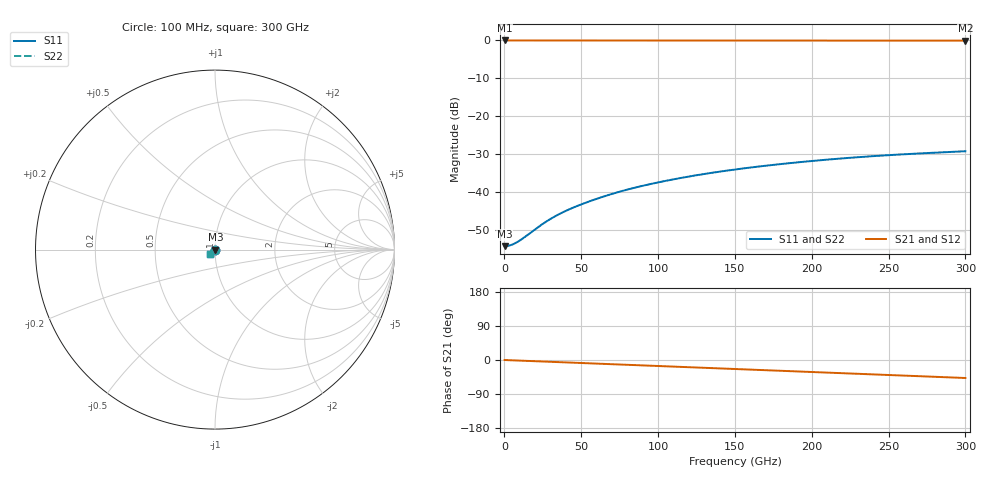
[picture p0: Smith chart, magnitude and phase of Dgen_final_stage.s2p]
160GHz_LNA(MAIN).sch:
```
<Qucs Schematic 24.4.1>
<Properties>
  <View=-109,-1090,3583,980,0.440903,41,21>
  <Grid=10,10,1>
  <DataSet=160GHz_LNA(MAIN).dat>
  <DataDisplay=160GHz_LNA(MAIN).dpl>
  <OpenDisplay=0>
  <Script=Bandwidth extension.m>
  <RunScript=0>
  <showFrame=0>
  <FrameText0=Title>
  <FrameText1=Drawn By:>
  <FrameText2=Date:>
  <FrameText3=Revision:>
</Properties>
<Symbol>
</Symbol>
<Components>
  <GND * 1 2260 180 0 0 0 0>
  <GND * 1 2290 -300 0 0 0 0>
  <GND * 1 2290 140 0 0 0 0>
  <Lib npn13G8 1 2260 -80 10 64 0 0 "C:/Users/nsl/QucsWorkspace/user_lib/IHP_PDK_nonlinear_components" 0 "npn13G2" 0 "2" 1>
  <Lib rsil8 1 2260 -230 50 -26 0 0 "C:/Users/nsl/QucsWorkspace/user_lib/IHP_PDK_basic_components" 0 "rsil" 0 "7.5u" 1 "5.5u" 1 "1" 1>
  <GND * 1 2360 -290 0 0 0 0>
  <Vdc V7 1 2360 -350 18 -26 0 1 "1.35V" 1>
  <SPfile X4 1 2260 -330 -165 -26 0 1 "C:/S2P files/Choke.s2p" 1 "rectangular" 0 "linear" 0 "open" 0 "2" 0>
  <SPfile X12 1 2260 130 -219 -26 0 1 "C:/S2P files/Dgen_final_stage.s2p" 1 "rectangular" 0 "linear" 0 "open" 0 "2" 0>
  <GND * 1 2050 -260 0 0 0 0>
  <Vdc V8 1 2050 -290 18 -26 0 1 "0.93V" 1>
  <Lib rhigh12 1 2180 -190 -79 -26 0 2 "C:/Users/nsl/QucsWorkspace/user_lib/IHP_PDK_basic_components" 0 "rhigh" 0 "2u" 1 "6u" 1 "1" 1>
  <GND * 1 2100 -30 0 0 0 0>
  <Lib cap_rfcmim15 1 2030 -90 -16 -98 0 1 "C:/Users/nsl/QucsWorkspace/user_lib/IHP_PDK_basic_components" 0 "cap_rfcmim" 0 "5.1u" 1 "2.4u" 1>
  <GND * 1 2430 -100 0 0 0 0>
  <Lib cap_rfcmim16 1 2390 -150 -16 -98 0 1 "C:/Users/nsl/QucsWorkspace/user_lib/IHP_PDK_basic_components" 0 "cap_rfcmim" 0 "32u" 1 "6.2u" 1>
  <GND * 1 2440 60 0 0 0 0>
  <SPfile X18 1 2470 20 22 -26 0 3 "C:/S2P files/4th_TL.s2p" 1 "rectangular" 0 "linear" 0 "open" 0 "2" 0>
  <GND * 1 2470 110 0 0 0 0>
  <GND * 1 2560 -100 0 0 0 0>
  <Lib cap_rfcmim17 1 2510 -150 -16 -98 0 1 "C:/Users/nsl/QucsWorkspace/user_lib/IHP_PDK_basic_components" 0 "cap_rfcmim" 0 "3.2u" 1 "2.4u" 1>
  <GND * 1 2660 100 0 0 0 0>
  <Pac P2 1 2660 30 18 -26 0 1 "2" 1 "50 Ohm" 1 "0 dBm" 0 "1 MHz" 0 "26.85" 0 "true" 0>
  <GND * 1 1790 240 0 0 0 0>
  <GND * 1 1820 -220 0 0 0 0>
  <GND * 1 1820 200 0 0 0 0>
  <Lib npn13G7 1 1790 -20 10 64 0 0 "C:/Users/nsl/QucsWorkspace/user_lib/IHP_PDK_nonlinear_components" 0 "npn13G2" 0 "2" 1>
  <Lib rsil7 1 1790 -150 50 -26 0 0 "C:/Users/nsl/QucsWorkspace/user_lib/IHP_PDK_basic_components" 0 "rsil" 0 "7.5u" 1 "5u" 1 "1" 1>
  <GND * 1 1890 -240 0 0 0 0>
  <Vdc V5 1 1890 -300 18 -26 0 1 "1.35V" 1>
  <SPfile X3 1 1790 -250 -165 -26 0 1 "C:/S2P files/Choke.s2p" 1 "rectangular" 0 "linear" 0 "open" 0 "2" 0>
  <SPfile X11 1 1790 190 -158 -26 0 1 "C:/S2P files/Dgen.s2p" 1 "rectangular" 0 "linear" 0 "open" 0 "2" 0>
  <GND * 1 1610 -150 0 0 0 0>
  <Vdc V6 1 1610 -180 18 -26 0 1 "0.9V" 1>
  <Lib rhigh11 1 1720 -90 -88 -26 0 2 "C:/Users/nsl/QucsWorkspace/user_lib/IHP_PDK_basic_components" 0 "rhigh" 0 "1.9u" 1 "6u" 1 "1" 1>
  <GND * 1 1620 30 0 0 0 0>
  <Lib cap_rfcmim13 1 1550 -30 -16 -98 0 1 "C:/Users/nsl/QucsWorkspace/user_lib/IHP_PDK_basic_components" 0 "cap_rfcmim" 0 "7.6u" 1 "2.5u" 1>
  <GND * 1 1950 -40 0 0 0 0>
  <Lib cap_rfcmim14 1 1910 -90 -16 -98 0 1 "C:/Users/nsl/QucsWorkspace/user_lib/IHP_PDK_basic_components" 0 "cap_rfcmim" 0 "32u" 1 "12.5u" 1>
  <GND * 1 1990 130 0 0 0 0>
  <SPfile X17 1 1990 60 22 -26 0 3 "C:/S2P files/3rd_TL.s2p" 1 "rectangular" 0 "linear" 0 "open" 0 "2" 0>
  <GND * 1 1960 90 0 0 0 0>
  <GND * 1 1270 300 0 0 0 0>
  <GND * 1 1300 -190 0 0 0 0>
  <GND * 1 1300 260 0 0 0 0>
  <Lib npn13G6 1 1270 40 10 64 0 0 "C:/Users/nsl/QucsWorkspace/user_lib/IHP_PDK_nonlinear_components" 0 "npn13G2" 0 "4" 1>
  <Lib rsil6 1 1270 -120 50 -26 0 0 "C:/Users/nsl/QucsWorkspace/user_lib/IHP_PDK_basic_components" 0 "rsil" 0 "7.5u" 1 "5u" 1 "1" 1>
  <GND * 1 1350 -170 0 0 0 0>
  <Vdc V3 1 1350 -230 18 -26 0 1 "1.35V" 1>
  <SPfile X2 1 1270 -220 -165 -26 0 1 "C:/S2P files/Choke.s2p" 1 "rectangular" 0 "linear" 0 "open" 0 "2" 0>
  <SPfile X10 1 1270 250 -158 -26 0 1 "C:/S2P files/Dgen.s2p" 1 "rectangular" 0 "linear" 0 "open" 0 "2" 0>
  <GND * 1 1130 90 0 0 0 0>
  <Lib cap_rfcmim11 1 1060 30 -16 -98 0 1 "C:/Users/nsl/QucsWorkspace/user_lib/IHP_PDK_basic_components" 0 "cap_rfcmim" 0 "5.2u" 1 "2.4u" 1>
  <GND * 1 1440 20 0 0 0 0>
  <Lib cap_rfcmim12 1 1400 -30 -16 -98 0 1 "C:/Users/nsl/QucsWorkspace/user_lib/IHP_PDK_basic_components" 0 "cap_rfcmim" 0 "32u" 1 "3.72u" 1>
  <GND * 1 1480 170 0 0 0 0>
  <SPfile X16 1 1480 90 22 -26 0 3 "C:/S2P files/2nd_TL.s2p" 1 "rectangular" 0 "linear" 0 "open" 0 "2" 0>
  <GND * 1 1450 110 0 0 0 0>
  <GND * 1 940 80 0 0 0 0>
  <GND * 1 750 360 0 0 0 0>
  <GND * 1 780 -140 0 0 0 0>
  <Lib npn13G5 1 750 100 10 64 0 0 "C:/Users/nsl/QucsWorkspace/user_lib/IHP_PDK_nonlinear_components" 0 "npn13G2" 0 "4" 1>
  <Lib cap_rfcmim10 1 900 30 -16 -98 0 1 "C:/Users/nsl/QucsWorkspace/user_lib/IHP_PDK_basic_components" 0 "cap_rfcmim" 0 "32u" 1 "3.72u" 1>
  <Lib rsil5 1 750 -40 50 -26 0 0 "C:/Users/nsl/QucsWorkspace/user_lib/IHP_PDK_basic_components" 0 "rsil" 0 "7.5u" 1 "5u" 1 "1" 1>
  <SPfile X1 1 750 -170 -165 -26 0 1 "C:/S2P files/Choke.s2p" 1 "rectangular" 0 "linear" 0 "open" 0 "2" 0>
  <GND * 1 830 -120 0 0 0 0>
  <Vdc V1 1 830 -180 18 -26 0 1 "1.35V" 1>
  <SPfile X14 1 750 310 21 -26 0 3 "C:/S2P files/Dgen.s2p" 1 "rectangular" 0 "linear" 0 "open" 0 "2" 0>
  <GND * 1 720 330 0 0 0 0>
  <Lib rhigh9 1 670 -10 -88 -26 0 2 "C:/Users/nsl/QucsWorkspace/user_lib/IHP_PDK_basic_components" 0 "rhigh" 0 "1.9u" 1 "6u" 1 "1" 1>
  <GND * 1 440 250 0 0 0 0>
  <Pac P1 1 440 200 18 -26 0 1 "1" 1 "50 Ohm" 1 "0 dBm" 0 "1 MHz" 0 "26.85" 0 "true" 0>
  <GND * 1 550 150 0 0 0 0>
  <Lib cap_rfcmim9 1 520 90 -16 -98 0 1 "C:/Users/nsl/QucsWorkspace/user_lib/IHP_PDK_basic_components" 0 "cap_rfcmim" 0 "10u" 1 "15u" 1>
  <GND * 1 990 200 0 0 0 0>
  <SPfile X15 1 990 140 22 -26 0 3 "C:/S2P files/1st_TL.s2p" 1 "rectangular" 0 "linear" 0 "open" 0 "2" 0>
  <GND * 1 960 160 0 0 0 0>
  <.DC DC1 1 480 610 0 40 0 0 "26.85" 0 "0.001" 0 "1 pA" 0 "1 uV" 0 "no" 0 "150" 0 "no" 0 "none" 0 "CroutLU" 0>
  <GND * 1 540 -280 0 0 0 2>
  <Lib cap_cmim8 1 540 -260 -84 -27 0 2 "C:/Users/nsl/QucsWorkspace/user_lib/IHP_PDK_basic_components" 0 "cap_cmim" 0 "25u" 1 "20u" 1>
  <GND * 1 540 -100 0 0 0 0>
  <Vdc V2 1 540 -130 18 -26 0 1 "0.9V" 1>
  <Lib cap_cmim9 1 650 -260 -84 -27 0 2 "C:/Users/nsl/QucsWorkspace/user_lib/IHP_PDK_basic_components" 0 "cap_cmim" 0 "25u" 1 "20u" 1>
  <GND * 1 650 -280 0 0 0 2>
  <Lib cap_cmim11 1 920 -210 -38 -90 0 1 "C:/Users/nsl/QucsWorkspace/user_lib/IHP_PDK_basic_components" 0 "cap_cmim" 0 "25u" 1 "20u" 1>
  <Lib cap_cmim10 1 910 -300 -38 -90 0 1 "C:/Users/nsl/QucsWorkspace/user_lib/IHP_PDK_basic_components" 0 "cap_cmim" 0 "25u" 1 "20u" 1>
  <GND * 1 930 -300 0 0 0 1>
  <GND * 1 950 -210 0 0 0 1>
  <GND * 1 1100 -370 0 0 0 2>
  <Lib cap_cmim12 1 1100 -350 -84 -27 0 2 "C:/Users/nsl/QucsWorkspace/user_lib/IHP_PDK_basic_components" 0 "cap_cmim" 0 "25u" 1 "20u" 1>
  <Lib cap_cmim13 1 1210 -350 -84 -27 0 2 "C:/Users/nsl/QucsWorkspace/user_lib/IHP_PDK_basic_components" 0 "cap_cmim" 0 "25u" 1 "20u" 1>
  <GND * 1 1210 -370 0 0 0 2>
  <GND * 1 1100 -160 0 0 0 0>
  <Vdc V4 1 1100 -190 18 -26 0 1 "0.9V" 1>
  <Lib cap_cmim14 1 1440 -260 -38 -90 0 1 "C:/Users/nsl/QucsWorkspace/user_lib/IHP_PDK_basic_components" 0 "cap_cmim" 0 "25u" 1 "20u" 1>
  <Lib cap_cmim15 1 1430 -350 -38 -90 0 1 "C:/Users/nsl/QucsWorkspace/user_lib/IHP_PDK_basic_components" 0 "cap_cmim" 0 "25u" 1 "20u" 1>
  <GND * 1 1450 -350 0 0 0 1>
  <GND * 1 1470 -260 0 0 0 1>
  <GND * 1 1610 -380 0 0 0 2>
  <Lib cap_cmim16 1 1610 -360 -84 -27 0 2 "C:/Users/nsl/QucsWorkspace/user_lib/IHP_PDK_basic_components" 0 "cap_cmim" 0 "25u" 1 "20u" 1>
  <Lib cap_cmim17 1 1720 -360 -84 -27 0 2 "C:/Users/nsl/QucsWorkspace/user_lib/IHP_PDK_basic_components" 0 "cap_cmim" 0 "25u" 1 "20u" 1>
  <GND * 1 1720 -380 0 0 0 2>
  <Lib cap_cmim18 1 1980 -330 -38 -90 0 1 "C:/Users/nsl/QucsWorkspace/user_lib/IHP_PDK_basic_components" 0 "cap_cmim" 0 "25u" 1 "20u" 1>
  <Lib cap_cmim19 1 1970 -420 -38 -90 0 1 "C:/Users/nsl/QucsWorkspace/user_lib/IHP_PDK_basic_components" 0 "cap_cmim" 0 "25u" 1 "20u" 1>
  <GND * 1 1990 -420 0 0 0 1>
  <GND * 1 2010 -330 0 0 0 1>
  <GND * 1 2060 -470 0 0 0 2>
  <Lib cap_cmim20 1 2060 -450 -84 -27 0 2 "C:/Users/nsl/QucsWorkspace/user_lib/IHP_PDK_basic_components" 0 "cap_cmim" 0 "25u" 1 "20u" 1>
  <Lib cap_cmim21 1 2170 -450 -84 -27 0 2 "C:/Users/nsl/QucsWorkspace/user_lib/IHP_PDK_basic_components" 0 "cap_cmim" 0 "25u" 1 "20u" 1>
  <GND * 1 2170 -470 0 0 0 2>
  <Lib cap_cmim22 1 2450 -380 -38 -90 0 1 "C:/Users/nsl/QucsWorkspace/user_lib/IHP_PDK_basic_components" 0 "cap_cmim" 0 "25u" 1 "20u" 1>
  <Lib cap_cmim23 1 2440 -470 -38 -90 0 1 "C:/Users/nsl/QucsWorkspace/user_lib/IHP_PDK_basic_components" 0 "cap_cmim" 0 "25u" 1 "20u" 1>
  <GND * 1 2460 -470 0 0 0 1>
  <GND * 1 2480 -380 0 0 0 1>
  <INCLSCR INCLSCR2 1 620 -730 -60 16 0 0 ".LIB C:\Users\nsl\QucsWorkspace\IHP-Open-PDK\ihp-sg13g2\libs.tech\ngspice\models\cornerHBT.lib hbt_typ\n.LIB C:\Users\nsl\QucsWorkspace\IHP-Open-PDK\ihp-sg13g2\libs.tech\ngspice\models\cornerRES.lib res_typ\n.LIB C:\Users\nsl\QucsWorkspace\IHP-Open-PDK\ihp-sg13g2\libs.tech\ngspice\models\cornerCAP.lib cap_typ\n.control\npre_osdi C:\Users\nsl\QucsWorkspace\IHP-Open-PDK\ihp-sg13g2\libs.tech\verilog-a\r3_cmc\r3_cmc.osdi\n.endc" 1 "" 0 "" 0>
  <.SP SP1 1 770 600 0 68 0 0 "lin" 1 "140 GHz" 1 "190 GHz" 1 "101" 1 "yes" 0 "1" 0 "2" 0 "no" 0 "no" 0>
  <NutmegEq NutmegEq3 1 1050 610 -31 16 0 0 "SP1" 1 "num=(1/4)*(abs(v(y_2_1)-v(y_1_2))*abs(v(y_2_1)-v(y_1_2)))" 1 "den=real(v(y_1_1))*real(v(y_2_2))-real(v(y_2_1))*real(v(y_1_2))" 1 "Gmax=num/den" 1 "Fmax=sqrt(mag(Gmax))*frequency" 1>
  <NutmegEq NutmegEq2 1 1410 590 -31 16 0 0 "SP1" 1 "s11_db=db(v(s_1_1))" 1 "s12_db=db(v(s_1_2))" 1 "s21_db=db(v(s_2_1))" 1 "s22_db=db(v(s_2_2))" 1 "s11_mag=mag(v(s_1_1))" 1 "s11_conj=conj(v(s_1_1))" 1 "s12_mag=mag(v(s_1_2))" 1 "s21_mag=mag(v(s_2_1))" 1 "s22_mag=mag(v(s_2_2))" 1 "delta=v(s_1_1)*v(s_2_2)-v(s_1_2)*v(s_2_2)" 1 "delta_mag=mag(delta)" 1 "kf=(1-s11_mag*s11_mag-s22_mag*s22_mag+delta_mag*delta_mag)/(2*s12_mag*s21_mag)" 1 "mu=(1-s11_mag*s11_mag)/(mag(v(s_2_2)-delta*s11_conj)+s12_mag*s21_mag)" 1>
  <Lib rhigh10 1 1220 -30 -88 -26 0 2 "C:/Users/nsl/QucsWorkspace/user_lib/IHP_PDK_basic_components" 0 "rhigh" 0 "1.9u" 1 "5u" 1 "1" 1>
</Components>
<Wires>
  <2270 -80 2340 -80 "" 0 0 0 "">
  <2340 -80 2340 180 "" 0 0 0 "">
  <2260 180 2340 180 "" 0 0 0 "">
  <2260 160 2260 180 "" 0 0 0 "">
  <2260 -30 2260 100 "" 0 0 0 "">
  <2260 -190 2260 -140 "" 0 0 0 "">
  <2290 -330 2290 -300 "" 0 0 0 "">
  <2260 -300 2260 -270 "" 0 0 0 "">
  <2290 130 2290 140 "" 0 0 0 "">
  <2360 -320 2360 -290 "" 0 0 0 "">
  <2180 -80 2230 -80 "" 0 0 0 "">
  <2180 -150 2180 -80 "" 0 0 0 "">
  <2050 -80 2180 -80 "" 0 0 0 "">
  <2100 -50 2100 -30 "" 0 0 0 "">
  <2050 -50 2100 -50 "" 0 0 0 "">
  <2410 -140 2470 -140 "" 0 0 0 "">
  <2260 -140 2260 -130 "" 0 0 0 "">
  <2260 -140 2380 -140 "" 0 0 0 "">
  <2430 -110 2430 -100 "" 0 0 0 "">
  <2410 -110 2430 -110 "" 0 0 0 "">
  <2470 -140 2470 -10 "" 0 0 0 "">
  <2440 20 2440 60 "" 0 0 0 "">
  <2470 50 2470 110 "" 0 0 0 "">
  <2470 -140 2500 -140 "" 0 0 0 "">
  <2530 -110 2560 -110 "" 0 0 0 "">
  <2560 -110 2560 -100 "" 0 0 0 "">
  <2530 -140 2660 -140 "" 0 0 0 "">
  <2660 60 2660 100 "" 0 0 0 "">
  <2660 -140 2660 0 "" 0 0 0 "">
  <1800 -20 1870 -20 "" 0 0 0 "">
  <1870 -20 1870 240 "" 0 0 0 "">
  <1790 240 1870 240 "" 0 0 0 "">
  <1790 220 1790 240 "" 0 0 0 "">
  <1790 30 1790 160 "" 0 0 0 "">
  <1820 -250 1820 -220 "" 0 0 0 "">
  <1790 -220 1790 -190 "" 0 0 0 "">
  <1820 190 1820 200 "" 0 0 0 "">
  <1890 -270 1890 -240 "" 0 0 0 "">
  <1720 -20 1760 -20 "" 0 0 0 "">
  <1720 -50 1720 -20 "" 0 0 0 "">
  <1570 -20 1720 -20 "" 0 0 0 "">
  <1620 10 1620 30 "" 0 0 0 "">
  <1570 10 1620 10 "" 0 0 0 "">
  <1790 -110 1790 -80 "" 0 0 0 "">
  <1790 -80 1790 -70 "" 0 0 0 "">
  <1790 -80 1900 -80 "" 0 0 0 "">
  <1950 -50 1950 -40 "" 0 0 0 "">
  <1930 -50 1950 -50 "" 0 0 0 "">
  <1930 -80 1990 -80 "" 0 0 0 "">
  <1990 -80 2020 -80 "" 0 0 0 "">
  <1990 -80 1990 30 "" 0 0 0 "">
  <1990 90 1990 130 "" 0 0 0 "">
  <1960 60 1960 90 "" 0 0 0 "">
  <1280 40 1350 40 "" 0 0 0 "">
  <1350 40 1350 300 "" 0 0 0 "">
  <1270 300 1350 300 "" 0 0 0 "">
  <1270 280 1270 300 "" 0 0 0 "">
  <1270 90 1270 220 "" 0 0 0 "">
  <1300 -220 1300 -190 "" 0 0 0 "">
  <1300 250 1300 260 "" 0 0 0 "">
  <1270 -190 1270 -160 "" 0 0 0 "">
  <1350 -200 1350 -170 "" 0 0 0 "">
  <1220 40 1240 40 "" 0 0 0 "">
  <1220 10 1220 40 "" 0 0 0 "">
  <1080 40 1220 40 "" 0 0 0 "">
  <1130 70 1130 90 "" 0 0 0 "">
  <1080 70 1130 70 "" 0 0 0 "">
  <1270 -80 1270 -20 "" 0 0 0 "">
  <1270 -20 1270 -10 "" 0 0 0 "">
  <1270 -20 1390 -20 "" 0 0 0 "">
  <1440 10 1440 20 "" 0 0 0 "">
  <1420 10 1440 10 "" 0 0 0 "">
  <1420 -20 1480 -20 "" 0 0 0 "">
  <1480 -20 1540 -20 "" 0 0 0 "">
  <1480 -20 1480 60 "" 0 0 0 "">
  <1480 120 1480 170 "" 0 0 0 "">
  <1450 90 1450 110 "" 0 0 0 "">
  <760 100 830 100 "" 0 0 0 "">
  <750 40 750 50 "" 0 0 0 "">
  <830 100 830 360 "" 0 0 0 "">
  <750 360 830 360 "" 0 0 0 "">
  <940 70 940 80 "" 0 0 0 "">
  <920 70 940 70 "" 0 0 0 "">
  <750 40 890 40 "" 0 0 0 "">
  <750 150 750 280 "" 0 0 0 "">
  <750 340 750 360 "" 0 0 0 "">
  <750 0 750 40 "" 0 0 0 "">
  <750 -140 750 -80 "" 0 0 0 "">
  <780 -170 780 -140 "" 0 0 0 "">
  <750 -300 750 -200 "" 0 0 0 "">
  <750 -300 830 -300 "" 0 0 0 "">
  <830 -150 830 -120 "" 0 0 0 "">
  <830 -300 830 -210 "" 0 0 0 "">
  <720 310 720 330 "" 0 0 0 "">
  <670 100 720 100 "" 0 0 0 "">
  <670 30 670 100 "" 0 0 0 "">
  <440 230 440 250 "" 0 0 0 "">
  <540 100 670 100 "" 0 0 0 "">
  <440 100 440 170 "" 0 0 0 "">
  <440 100 510 100 "" 0 0 0 "">
  <550 130 550 150 "" 0 0 0 "">
  <540 130 550 130 "" 0 0 0 "">
  <920 40 990 40 "" 0 0 0 "">
  <990 40 1050 40 "" 0 0 0 "">
  <990 40 990 110 "" 0 0 0 "">
  <990 170 990 200 "" 0 0 0 "">
  <960 140 960 160 "" 0 0 0 "">
  <670 -240 670 -50 "" 0 0 0 "">
  <540 -240 650 -240 "" 0 0 0 "">
  <540 -240 540 -160 "" 0 0 0 "">
  <650 -240 670 -240 "" 0 0 0 "">
  <830 -210 900 -210 "" 0 0 0 "">
  <830 -300 890 -300 "" 0 0 0 "">
  <940 -210 950 -210 "" 0 0 0 "">
  <1220 -330 1220 -70 "" 0 0 0 "">
  <1100 -330 1210 -330 "" 0 0 0 "">
  <1100 -330 1100 -220 "" 0 0 0 "">
  <1210 -330 1220 -330 "" 0 0 0 "">
  <1350 -350 1350 -260 "" 0 0 0 "">
  <1350 -260 1420 -260 "" 0 0 0 "">
  <1350 -350 1410 -350 "" 0 0 0 "">
  <1460 -260 1470 -260 "" 0 0 0 "">
  <1270 -350 1270 -250 "" 0 0 0 "">
  <1270 -350 1350 -350 "" 0 0 0 "">
  <1720 -340 1720 -130 "" 0 0 0 "">
  <1610 -340 1610 -210 "" 0 0 0 "">
  <1610 -340 1720 -340 "" 0 0 0 "">
  <1890 -420 1890 -330 "" 0 0 0 "">
  <1890 -330 1960 -330 "" 0 0 0 "">
  <1890 -420 1950 -420 "" 0 0 0 "">
  <2000 -330 2010 -330 "" 0 0 0 "">
  <1790 -420 1790 -280 "" 0 0 0 "">
  <1790 -420 1890 -420 "" 0 0 0 "">
  <2180 -430 2180 -230 "" 0 0 0 "">
  <2050 -430 2050 -320 "" 0 0 0 "">
  <2050 -430 2060 -430 "" 0 0 0 "">
  <2060 -430 2170 -430 "" 0 0 0 "">
  <2170 -430 2180 -430 "" 0 0 0 "">
  <2360 -380 2430 -380 "" 0 0 0 "">
  <2360 -470 2360 -380 "" 0 0 0 "">
  <2360 -470 2420 -470 "" 0 0 0 "">
  <2470 -380 2480 -380 "" 0 0 0 "">
  <2260 -470 2260 -360 "" 0 0 0 "">
  <2260 -470 2360 -470 "" 0 0 0 "">
</Wires>
<Diagrams>
</Diagrams>
<Paintings>
</Paintings>
```
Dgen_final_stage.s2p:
#  Hz  S  RI  R  50
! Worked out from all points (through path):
!   3000 points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, 100 MHz to 300 GHz, reference 50 ohm
!   highest |S21| = -0.02 dB at 100 MHz (marker M1); lowest = -0.1 dB at 300 GHz (marker M2)
!   group delay of S21, straight-line fit = 439 fs
!   lowest |S11| = -54.2 dB at 100 MHz (marker M3), VSWR 1.00, Z = 50.2 - j0.000791 ohm
!   |S11| at or under -10 dB: start of sweep to end of sweep
!   |S22| runs from -54.2 to -29.2 dB; largest |S21 - S12| = 3.8e-07
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1e8  0.00196 -7.88e-06  0.9981 -0.000283  0.9981 -0.000283  0.00196 -7.88e-06
4.1e9  0.00199 -0.000329  0.998 -0.0116  0.998 -0.0116  0.00199 -0.000329
8.4e9  0.0021 -0.000713  0.9976 -0.0237  0.9976 -0.0237  0.0021 -0.000713
2.58e10  0.0026 -0.00298  0.9945 -0.0717  0.9945 -0.0717  0.0026 -0.00298
3.61e10  0.00253 -0.00458  0.9919 -0.0998  0.9919 -0.0998  0.00253 -0.00458
6.18e10  0.00169 -0.00828  0.9819 -0.1697  0.9819 -0.1697  0.00169 -0.00828
7.97e10  0.000736 -0.0108  0.9721 -0.2178  0.9721 -0.2178  0.000736 -0.0108
9.98e10  -0.000746 -0.0135  0.9583 -0.2712  0.9583 -0.2712  -0.000746 -0.0135
1.501e11  -0.00593 -0.0191  0.911 -0.4007  0.911 -0.4007  -0.00593 -0.0191
2.192e11  -0.0154 -0.0233  0.8177 -0.5655  0.8177 -0.5655  -0.0154 -0.0233
3e11  -0.0265 -0.0225  0.6703 -0.7313  0.6703 -0.7313  -0.0265 -0.0225
